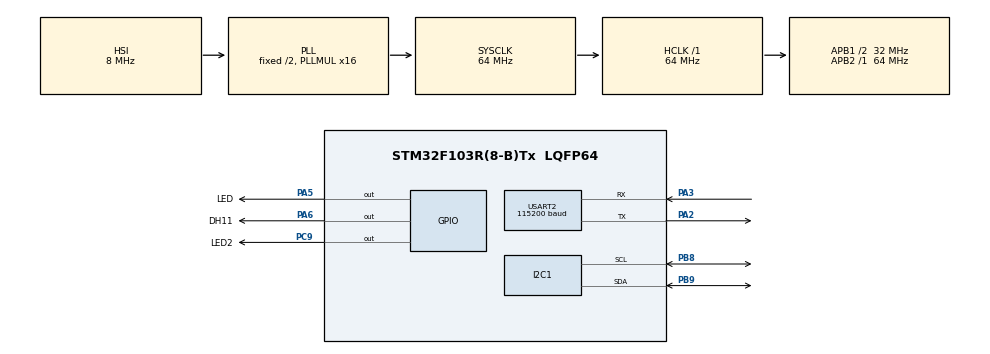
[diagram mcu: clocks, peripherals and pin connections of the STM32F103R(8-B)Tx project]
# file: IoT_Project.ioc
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Mcu.Family=STM32F1
Mcu.Name=STM32F103R(8-B)Tx
Mcu.Package=LQFP64
NVIC.PriorityGroup=NVIC_PRIORITYGROUP_4
NVIC.TIM2_IRQn=true\:0\:0\:false\:false\:true\:true\:true
NVIC.USART2_IRQn=true\:0\:0\:false\:false\:true\:true\:true
PA13.Mode=Serial_Wire
PA13.Signal=SYS_JTMS-SWDIO
PA14.Mode=Serial_Wire
PA14.Signal=SYS_JTCK-SWCLK
PA2.Mode=Asynchronous
PA2.Signal=USART2_TX
PA3.Mode=Asynchronous
PA3.Signal=USART2_RX
PA5.GPIO_Label=LED
PA5.Signal=GPIO_Output
PA6.GPIO_Label=DH11
PA6.Signal=GPIO_Output
PB8.Mode=I2C
PB8.Signal=I2C1_SCL
PB9.Mode=I2C
PB9.Signal=I2C1_SDA
PC9.GPIO_Label=LED2
PC9.Signal=GPIO_Output
ProjectManager.HeapSize=0x200
ProjectManager.StackSize=0x400
ProjectManager.TargetToolchain=STM32CubeIDE
RCC.AHBFreq_Value=64000000
RCC.APB1CLKDivider=RCC_HCLK_DIV2
RCC.APB1Freq_Value=32000000
RCC.APB1TimFreq_Value=64000000
RCC.APB2Freq_Value=64000000
RCC.APB2TimFreq_Value=64000000
RCC.HCLKFreq_Value=64000000
RCC.PLLMUL=RCC_PLL_MUL16
RCC.SYSCLKFreq_VALUE=64000000
RCC.SYSCLKSource=RCC_SYSCLKSOURCE_PLLCLK
RCC.USBFreq_Value=64000000
TIM2.Period=63
TIM2.Prescaler=9999
TIM3.Period=0xffff-1
TIM3.Prescaler=64-1
USART2.BaudRate=115200
USART2.VirtualMode=VM_ASYNC
VP_TIM2_VS_ClockSourceINT.Mode=Internal
VP_TIM3_VS_ClockSourceINT.Mode=Internal
board=custom

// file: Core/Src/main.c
/* USER CODE BEGIN Header */
/**
  ******************************************************************************
  * @file           : main.c
  * @brief          : Main program body
  ******************************************************************************
  * @attention
  *
  * <h2><center>&copy; Copyright (c) 2023 STMicroelectronics.
  * All rights reserved.</center></h2>
  *
  * This software component is licensed by ST under BSD 3-Clause license,
  * the "License"; You may not use this file except in compliance with the
  * License. You may obtain a copy of the License at:
  *                        opensource.org/licenses/BSD-3-Clause
  *
  ******************************************************************************
  */
/* USER CODE END Header */
#include "main.h"

/* USER CODE BEGIN Includes */
#include "scheduler.h"
#include "task.h"
#include "stdio.h"
#include "string.h"
#include "timer.h"
#include "dh11.h"
#include "lcd.h"
#include "uart.h"
#include "ctype.h"
/* USER CODE END Includes */

I2C_HandleTypeDef hi2c1;

TIM_HandleTypeDef htim2;
TIM_HandleTypeDef htim3;

UART_HandleTypeDef huart2;

void SystemClock_Config(void);
static void MX_GPIO_Init(void);
static void MX_TIM2_Init(void);
static void MX_USART2_UART_Init(void);
static void MX_TIM3_Init(void);
static void MX_I2C1_Init(void);

/* USER CODE BEGIN 0 */

//==========================================================================

//
//int isF(uint8_t str[]){
//	if (str[0] == '2' && str[1] == 'S' && str[2] == 'F')
//		return 1;
//	else
//		return 0;
//}

void HAL_UART_RxCpltCallback(UART_HandleTypeDef *huart){
	if (huart->Instance == USART2){
		//HAL_UART_Transmit(&huart2, &buffer_byte, 1, 500);
		buffer[index_buffer++] = buffer_byte;
		if (index_buffer == MAX_BUFFER_SIZE) {
			index_buffer = 0;

		}
		buffer_flag = 1;

		HAL_UART_Receive_IT(&huart2, &buffer_byte,1);

	}
}

/* USER CODE END 0 */

int main(void)
{

  /* MCU Configuration--------------------------------------------------------*/

  /* Reset of all peripherals, Initializes the Flash interface and the Systick. */
  HAL_Init();

  /* Configure the system clock */
  SystemClock_Config();

  /* Initialize all configured peripherals */
  MX_GPIO_Init();
  MX_TIM2_Init();
  MX_USART2_UART_Init();
  MX_TIM3_Init();
  MX_I2C1_Init();
  /* USER CODE BEGIN 2 */
  HAL_TIM_Base_Start_IT(&htim2);
  HAL_TIM_Base_Start(&htim3);
//  HAL_UART_Receive_IT(&huart2, &buffer_byte,1);// sizeof(buffer_byte));
  timerInit();

  SCH_Init();

  //DH11_Init();

  SCH_Add_Task(Led_Test1, 100 , 1000);
  SCH_Add_Task(lcd_info_MCU, 120, 0);
  SCH_Add_Task(lcd_welcome, 300 , 0);
  SCH_Add_Task(Read_from_DHT11, 0 ,300);
  SCH_Add_Task(Send_Data_from_DHT11,500,300);
  SCH_Add_Task(cmd_check_request,70,1);
  SCH_Add_Task(cmd_parser_fsm,50,1);

  HAL_UART_Receive_IT(&huart2, &buffer_byte,1);

  /* USER CODE END 2 */

  /* Infinite loop */
  while (1)
  {

    /* USER CODE BEGIN 3 */

	  SCH_Dispatch_Tasks( timeChange);

  }
  /* USER CODE END 3 */
}

void SystemClock_Config(void)
{
  RCC_OscInitTypeDef RCC_OscInitStruct = {0};
  RCC_ClkInitTypeDef RCC_ClkInitStruct = {0};

  /** Initializes the RCC Oscillators according to the specified parameters
  * in the RCC_OscInitTypeDef structure.
  */
  RCC_OscInitStruct.OscillatorType = RCC_OSCILLATORTYPE_HSI;
  RCC_OscInitStruct.HSIState = RCC_HSI_ON;
  RCC_OscInitStruct.HSICalibrationValue = RCC_HSICALIBRATION_DEFAULT;
  RCC_OscInitStruct.PLL.PLLState = RCC_PLL_ON;
  RCC_OscInitStruct.PLL.PLLSource = RCC_PLLSOURCE_HSI_DIV2;
  RCC_OscInitStruct.PLL.PLLMUL = RCC_PLL_MUL16;
  if (HAL_RCC_OscConfig(&RCC_OscInitStruct) != HAL_OK)
  {
    Error_Handler();
  }
  /** Initializes the CPU, AHB and APB buses clocks
  */
  RCC_ClkInitStruct.ClockType = RCC_CLOCKTYPE_HCLK|RCC_CLOCKTYPE_SYSCLK
                              |RCC_CLOCKTYPE_PCLK1|RCC_CLOCKTYPE_PCLK2;
  RCC_ClkInitStruct.SYSCLKSource = RCC_SYSCLKSOURCE_PLLCLK;
  RCC_ClkInitStruct.AHBCLKDivider = RCC_SYSCLK_DIV1;
  RCC_ClkInitStruct.APB1CLKDivider = RCC_HCLK_DIV2;
  RCC_ClkInitStruct.APB2CLKDivider = RCC_HCLK_DIV1;

  if (HAL_RCC_ClockConfig(&RCC_ClkInitStruct, FLASH_LATENCY_2) != HAL_OK)
  {
    Error_Handler();
  }
}

static void MX_I2C1_Init(void)
{

  hi2c1.Instance = I2C1;
  hi2c1.Init.ClockSpeed = 100000;
  hi2c1.Init.DutyCycle = I2C_DUTYCYCLE_2;
  hi2c1.Init.OwnAddress1 = 0;
  hi2c1.Init.AddressingMode = I2C_ADDRESSINGMODE_7BIT;
  hi2c1.Init.DualAddressMode = I2C_DUALADDRESS_DISABLE;
  hi2c1.Init.OwnAddress2 = 0;
  hi2c1.Init.GeneralCallMode = I2C_GENERALCALL_DISABLE;
  hi2c1.Init.NoStretchMode = I2C_NOSTRETCH_DISABLE;
  if (HAL_I2C_Init(&hi2c1) != HAL_OK)
  {
    Error_Handler();
  }

}

static void MX_TIM2_Init(void)
{

  TIM_ClockConfigTypeDef sClockSourceConfig = {0};
  TIM_MasterConfigTypeDef sMasterConfig = {0};

  htim2.Instance = TIM2;
  htim2.Init.Prescaler = 9999;
  htim2.Init.CounterMode = TIM_COUNTERMODE_UP;
  htim2.Init.Period = 63;
  htim2.Init.ClockDivision = TIM_CLOCKDIVISION_DIV1;
  htim2.Init.AutoReloadPreload = TIM_AUTORELOAD_PRELOAD_DISABLE;
  if (HAL_TIM_Base_Init(&htim2) != HAL_OK)
  {
    Error_Handler();
  }
  sClockSourceConfig.ClockSource = TIM_CLOCKSOURCE_INTERNAL;
  if (HAL_TIM_ConfigClockSource(&htim2, &sClockSourceConfig) != HAL_OK)
  {
    Error_Handler();
  }
  sMasterConfig.MasterOutputTrigger = TIM_TRGO_RESET;
  sMasterConfig.MasterSlaveMode = TIM_MASTERSLAVEMODE_DISABLE;
  if (HAL_TIMEx_MasterConfigSynchronization(&htim2, &sMasterConfig) != HAL_OK)
  {
    Error_Handler();
  }

}

static void MX_TIM3_Init(void)
{

  TIM_ClockConfigTypeDef sClockSourceConfig = {0};
  TIM_MasterConfigTypeDef sMasterConfig = {0};

  htim3.Instance = TIM3;
  htim3.Init.Prescaler = 64-1;
  htim3.Init.CounterMode = TIM_COUNTERMODE_UP;
  htim3.Init.Period = 0xffff-1;
  htim3.Init.ClockDivision = TIM_CLOCKDIVISION_DIV1;
  htim3.Init.AutoReloadPreload = TIM_AUTORELOAD_PRELOAD_DISABLE;
  if (HAL_TIM_Base_Init(&htim3) != HAL_OK)
  {
    Error_Handler();
  }
  sClockSourceConfig.ClockSource = TIM_CLOCKSOURCE_INTERNAL;
  if (HAL_TIM_ConfigClockSource(&htim3, &sClockSourceConfig) != HAL_OK)
  {
    Error_Handler();
  }
  sMasterConfig.MasterOutputTrigger = TIM_TRGO_RESET;
  sMasterConfig.MasterSlaveMode = TIM_MASTERSLAVEMODE_DISABLE;
  if (HAL_TIMEx_MasterConfigSynchronization(&htim3, &sMasterConfig) != HAL_OK)
  {
    Error_Handler();
  }

}

static void MX_USART2_UART_Init(void)
{

  huart2.Instance = USART2;
  huart2.Init.BaudRate = 115200;
  huart2.Init.WordLength = UART_WORDLENGTH_8B;
  huart2.Init.StopBits = UART_STOPBITS_1;
  huart2.Init.Parity = UART_PARITY_NONE;
  huart2.Init.Mode = UART_MODE_TX_RX;
  huart2.Init.HwFlowCtl = UART_HWCONTROL_NONE;
  huart2.Init.OverSampling = UART_OVERSAMPLING_16;
  if (HAL_UART_Init(&huart2) != HAL_OK)
  {
    Error_Handler();
  }

}

static void MX_GPIO_Init(void)
{
  GPIO_InitTypeDef GPIO_InitStruct = {0};

  /* GPIO Ports Clock Enable */
  __HAL_RCC_GPIOA_CLK_ENABLE();
  __HAL_RCC_GPIOC_CLK_ENABLE();
  __HAL_RCC_GPIOB_CLK_ENABLE();

  /*Configure GPIO pin Output Level */
  HAL_GPIO_WritePin(GPIOA, LED_Pin|DH11_Pin, GPIO_PIN_RESET);

  /*Configure GPIO pin Output Level */
  HAL_GPIO_WritePin(LED2_GPIO_Port, LED2_Pin, GPIO_PIN_RESET);

  /*Configure GPIO pins : LED_Pin DH11_Pin */
  GPIO_InitStruct.Pin = LED_Pin|DH11_Pin;
  GPIO_InitStruct.Mode = GPIO_MODE_OUTPUT_PP;
  GPIO_InitStruct.Pull = GPIO_NOPULL;
  GPIO_InitStruct.Speed = GPIO_SPEED_FREQ_LOW;
  HAL_GPIO_Init(GPIOA, &GPIO_InitStruct);

  /*Configure GPIO pin : LED2_Pin */
  GPIO_InitStruct.Pin = LED2_Pin;
  GPIO_InitStruct.Mode = GPIO_MODE_OUTPUT_PP;
  GPIO_InitStruct.Pull = GPIO_NOPULL;
  GPIO_InitStruct.Speed = GPIO_SPEED_FREQ_LOW;
  HAL_GPIO_Init(LED2_GPIO_Port, &GPIO_InitStruct);

}

/* USER CODE BEGIN 4 */
void HAL_TIM_PeriodElapsedCallback(TIM_HandleTypeDef *htim){
	SCH_Update();
	timerRun();
}

/* USER CODE END 4 */

void Error_Handler(void)
{
  __disable_irq();
  while (1)
  {
  }
}

/************************ (C) COPYRIGHT STMicroelectronics *****END OF FILE****/
